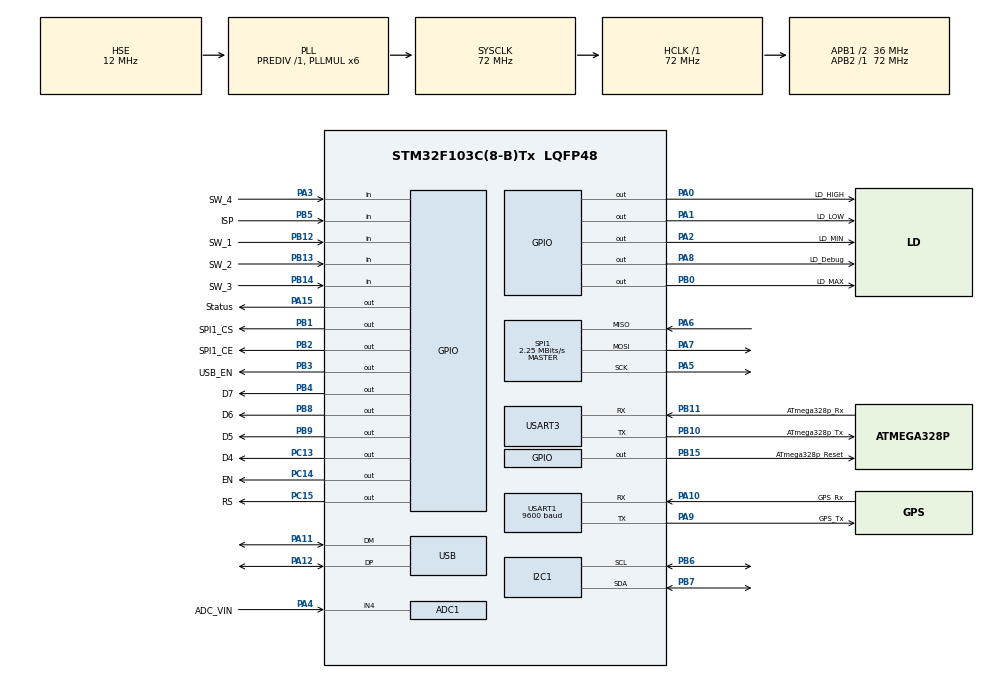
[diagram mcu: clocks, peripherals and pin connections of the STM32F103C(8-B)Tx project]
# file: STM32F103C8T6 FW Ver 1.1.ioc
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ADC1.Channel-0\#ChannelRegularConversion=ADC_CHANNEL_4
ADC1.Channel-1\#ChannelRegularConversion=ADC_CHANNEL_TEMPSENSOR
ADC1.ContinuousConvMode=ENABLE
ADC1.NbrOfConversion=2
ADC1.NbrOfConversionFlag=1
ADC1.Rank-0\#ChannelRegularConversion=1
ADC1.Rank-1\#ChannelRegularConversion=2
ADC1.SamplingTime-0\#ChannelRegularConversion=ADC_SAMPLETIME_71CYCLES_5
ADC1.SamplingTime-1\#ChannelRegularConversion=ADC_SAMPLETIME_71CYCLES_5
ADC1.master=1
Dma.ADC1.2.Direction=DMA_PERIPH_TO_MEMORY
Dma.ADC1.2.Instance=DMA1_Channel1
Dma.ADC1.2.MemDataAlignment=DMA_MDATAALIGN_HALFWORD
Dma.ADC1.2.MemInc=DMA_MINC_ENABLE
Dma.ADC1.2.Mode=DMA_CIRCULAR
Dma.ADC1.2.PeriphDataAlignment=DMA_PDATAALIGN_HALFWORD
Dma.ADC1.2.PeriphInc=DMA_PINC_DISABLE
Dma.ADC1.2.Priority=DMA_PRIORITY_LOW
Dma.Request0=USART3_RX
Dma.Request1=USART3_TX
Dma.Request2=ADC1
Dma.USART3_RX.0.Direction=DMA_PERIPH_TO_MEMORY
Dma.USART3_RX.0.Instance=DMA1_Channel3
Dma.USART3_RX.0.MemDataAlignment=DMA_MDATAALIGN_BYTE
Dma.USART3_RX.0.MemInc=DMA_MINC_ENABLE
Dma.USART3_RX.0.Mode=DMA_CIRCULAR
Dma.USART3_RX.0.PeriphDataAlignment=DMA_PDATAALIGN_BYTE
Dma.USART3_RX.0.PeriphInc=DMA_PINC_DISABLE
Dma.USART3_RX.0.Priority=DMA_PRIORITY_LOW
Dma.USART3_TX.1.Direction=DMA_MEMORY_TO_PERIPH
Dma.USART3_TX.1.Instance=DMA1_Channel2
Dma.USART3_TX.1.MemDataAlignment=DMA_MDATAALIGN_BYTE
Dma.USART3_TX.1.MemInc=DMA_MINC_ENABLE
Dma.USART3_TX.1.Mode=DMA_NORMAL
Dma.USART3_TX.1.PeriphDataAlignment=DMA_PDATAALIGN_BYTE
Dma.USART3_TX.1.PeriphInc=DMA_PINC_DISABLE
Dma.USART3_TX.1.Priority=DMA_PRIORITY_LOW
I2C1.I2C_Mode=I2C_Fast
IWDG.Prescaler=IWDG_PRESCALER_32
Mcu.Family=STM32F1
Mcu.Name=STM32F103C(8-B)Tx
Mcu.Package=LQFP48
NVIC.DMA1_Channel1_IRQn=true\:0\:0\:false\:false\:true\:false\:true\:true
NVIC.DMA1_Channel2_IRQn=true\:0\:0\:false\:false\:true\:false\:true\:true
NVIC.DMA1_Channel3_IRQn=true\:0\:0\:false\:false\:true\:false\:true\:true
NVIC.PriorityGroup=NVIC_PRIORITYGROUP_4
NVIC.TIM2_IRQn=true\:0\:0\:false\:true\:true\:2\:true\:true\:true
NVIC.USART1_IRQn=true\:0\:0\:false\:true\:true\:1\:true\:true\:true
NVIC.USB_LP_CAN1_RX0_IRQn=true\:0\:0\:false\:false\:true\:false\:true\:true
PA0-WKUP.GPIO_Label=LD_HIGH
PA0-WKUP.Signal=GPIO_Output
PA1.GPIO_Label=LD_LOW
PA1.Signal=GPIO_Output
PA10.GPIO_Label=GPS_Rx
PA10.Mode=Asynchronous
PA10.Signal=USART1_RX
PA11.Mode=Device
PA11.Signal=USB_DM
PA12.Mode=Device
PA12.Signal=USB_DP
PA13.Mode=Serial_Wire
PA13.Signal=SYS_JTMS-SWDIO
PA14.Mode=Serial_Wire
PA14.Signal=SYS_JTCK-SWCLK
PA15.GPIO_Label=Status
PA15.Signal=GPIO_Output
PA2.GPIO_Label=LD_MIN
PA2.Signal=GPIO_Output
PA3.GPIO_Label=SW_4
PA3.Signal=GPIO_Input
PA4.GPIO_Label=ADC_VIN
PA4.Signal=ADCx_IN4
PA5.Mode=Full_Duplex_Master
PA5.Signal=SPI1_SCK
PA6.Mode=Full_Duplex_Master
PA6.Signal=SPI1_MISO
PA7.Mode=Full_Duplex_Master
PA7.Signal=SPI1_MOSI
PA8.GPIO_Label=LD_Debug
PA8.Signal=GPIO_Output
PA9.GPIO_Label=GPS_Tx
PA9.Mode=Asynchronous
PA9.Signal=USART1_TX
PB0.GPIO_Label=LD_MAX
PB0.Signal=GPIO_Output
PB1.GPIO_Label=SPI1_CS
PB1.Signal=GPIO_Output
PB10.GPIO_Label=ATmega328p_Tx
PB10.Mode=Asynchronous
PB10.Signal=USART3_TX
PB11.GPIO_Label=ATmega328p_Rx
PB11.Mode=Asynchronous
PB11.Signal=USART3_RX
PB12.GPIO_Label=SW_1
PB12.Signal=GPIO_Input
PB13.GPIO_Label=SW_2
PB13.Signal=GPIO_Input
PB14.GPIO_Label=SW_3
PB14.Signal=GPIO_Input
PB15.GPIO_Label=ATmega328p_Reset
PB15.PinState=GPIO_PIN_SET
PB15.Signal=GPIO_Output
PB2.GPIO_Label=SPI1_CE
PB2.Signal=GPIO_Output
PB3.GPIO_Label=USB_EN
PB3.Signal=GPIO_Output
PB4.GPIO_Label=D7
PB4.Signal=GPIO_Output
PB5.GPIO_Label=ISP
PB5.Signal=GPIO_Input
PB6.Mode=I2C
PB6.Signal=I2C1_SCL
PB7.Mode=I2C
PB7.Signal=I2C1_SDA
PB8.GPIO_Label=D6
PB8.Signal=GPIO_Output
PB9.GPIO_Label=D5
PB9.Signal=GPIO_Output
PC13-TAMPER-RTC.GPIO_Label=D4
PC13-TAMPER-RTC.Signal=GPIO_Output
PC14-OSC32_IN.GPIO_Label=EN
PC14-OSC32_IN.Signal=GPIO_Output
PC15-OSC32_OUT.GPIO_Label=RS
PC15-OSC32_OUT.Signal=GPIO_Output
PD0-OSC_IN.Mode=HSE-External-Oscillator
PD0-OSC_IN.Signal=RCC_OSC_IN
PD1-OSC_OUT.Mode=HSE-External-Oscillator
PD1-OSC_OUT.Signal=RCC_OSC_OUT
ProjectManager.HeapSize=0x200
ProjectManager.StackSize=0x400
ProjectManager.TargetToolchain=STM32CubeIDE
RCC.ADCPresc=RCC_ADCPCLK2_DIV6
RCC.AHBFreq_Value=72000000
RCC.APB1CLKDivider=RCC_HCLK_DIV2
RCC.APB1Freq_Value=36000000
RCC.APB1TimFreq_Value=72000000
RCC.APB2Freq_Value=72000000
RCC.APB2TimFreq_Value=72000000
RCC.HCLKFreq_Value=72000000
RCC.HSE_VALUE=12000000
RCC.PLLMUL=RCC_PLL_MUL6
RCC.PLLSourceVirtual=RCC_PLLSOURCE_HSE
RCC.SYSCLKFreq_VALUE=72000000
RCC.SYSCLKSource=RCC_SYSCLKSOURCE_PLLCLK
RCC.USBFreq_Value=48000000
RCC.USBPrescaler=RCC_USBCLKSOURCE_PLL_DIV1_5
SH.ADCx_IN4.0=ADC1_IN4,IN4
SPI1.BaudRatePrescaler=SPI_BAUDRATEPRESCALER_32
SPI1.CalculateBaudRate=2.25 MBits/s
SPI1.Direction=SPI_DIRECTION_2LINES
SPI1.Mode=SPI_MODE_MASTER
SPI1.VirtualType=VM_MASTER
TIM1.Period=0xffff-1
TIM1.Prescaler=72-1
TIM2.Period=4999
TIM2.Prescaler=7199
USART1.BaudRate=9600
USART1.VirtualMode=VM_ASYNC
USART3.VirtualMode=VM_ASYNC
USB_DEVICE.CLASS_NAME_FS=CDC
USB_DEVICE.VirtualMode=Cdc
USB_DEVICE.VirtualModeFS=Cdc_FS
VP_ADC1_TempSens_Input.Mode=IN-TempSens
VP_IWDG_VS_IWDG.Mode=IWDG_Activate
VP_TIM1_VS_ClockSourceINT.Mode=Internal
VP_TIM2_VS_ClockSourceINT.Mode=Internal
VP_USB_DEVICE_VS_USB_DEVICE_CDC_FS.Mode=CDC_FS
board=custom

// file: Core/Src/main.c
/* USER CODE BEGIN Header */
/**
 *
 * GPS데이터 송신기
 * 21.12.12 업데이트 내용: 주변 밝기에 따라 LED 제어 구현
 * 24.05.05 업데이트 내용: 함수 최적화 및 USB 연결 버그 수정
 * 24.06.06 업데이트 내용: GPS 통신 프로토콜 변경(UBX) 및 함수 최적화
 * 					    디스플레이 정보중 연결된 위성 수 삭제 -> 연결된 RF Node 수로 변경(기능구현 X)
 * 24.06.07 업데이트 내용: 시간정보 표시 알고리즘 수정 + LCD제어 함수 최적화
 * 						윤년계산 및 날짜 계산 알고리즘 수정 + 보정시간 변경(매 시간마다)
 * 						ATmega328p 리셋 알고리즘 수정(일정 횟수 이상 리셋을 진행한 경우 더이상 리셋하지 않고 오류메세지 출력)
  ******************************************************************************
  * @file           : main.c
  * @brief          : Main program body
  ******************************************************************************
  * @attention
  *
  * Copyright (c) 2024 STMicroelectronics.
  * All rights reserved.
  *
  * This software is licensed under terms that can be found in the LICENSE file
  * in the root directory of this software component.
  * If no LICENSE file comes with this software, it is provided AS-IS.
  *
  ******************************************************************************
  */
/* USER CODE END Header */
#include "main.h"
#include "adc.h"
#include "dma.h"
#include "i2c.h"
#include "iwdg.h"
#include "spi.h"
#include "tim.h"
#include "usart.h"
#include "usb_device.h"
#include "gpio.h"

/* USER CODE BEGIN Includes */
#include "CLCD.h"
#include "GPS.h"
#include "DS3231.h"
#include "GPS_Data_Repeater.h"

/* USER CODE END Includes */

/* USER CODE BEGIN PM */
int _write(int file, char *ptr, int len){
	HAL_GPIO_WritePin(USB_EN_GPIO_Port, USB_EN_Pin, GPIO_PIN_SET);
    CDC_Transmit_FS(ptr, len);
    return (len);
}

/* USER CODE END PM */

/* USER CODE BEGIN PV */

uint8_t rx_uart1_data;
extern uint8_t m6n_rx_buf[TIMEUTC_LEN];
extern uint8_t m6n_rx_cplt_flag;

extern uint8_t rx_uart3_Data[20] = {0, };

bool TIM2_flag = false;

/* USER CODE END PV */

void SystemClock_Config(void);
static void MX_NVIC_Init(void);

int main(void)
{

  /* MCU Configuration--------------------------------------------------------*/

  /* Reset of all peripherals, Initializes the Flash interface and the Systick. */
  HAL_Init();

  /* Configure the system clock */
  SystemClock_Config();

  /* Initialize all configured peripherals */
  MX_GPIO_Init();
  MX_DMA_Init();
  MX_I2C1_Init();
  MX_ADC1_Init();
  MX_SPI1_Init();
  MX_USART1_UART_Init();
  MX_USART3_UART_Init();
  MX_USB_DEVICE_Init();
  MX_TIM2_Init();
  MX_TIM1_Init();
  MX_IWDG_Init();

  /* Initialize interrupts */
  MX_NVIC_Init();
  /* USER CODE BEGIN 2 */

  //LCD 초기화
  HAL_TIM_Base_Start(&htim1);
  lcd_Init(20, 4);

  //GPS Module 초기화
  M6N_Init();
  HAL_UART_Receive_IT(&huart1, &rx_uart1_data, 1);

  //RTC 초기화
  DS3231_Init(&hi2c1);

  //ATmega328p 초기화
  ATmega328p_Reset();
  HAL_UART_Receive_DMA(&huart3, rx_uart3_Data, 12);

  //500ms TIM 인터럽트 시작
  HAL_TIM_Base_Start_IT(&htim2);

  //ADC변환 시작
  uint16_t ADCVAL[2] = {0, };
  HAL_ADC_Start_DMA(&hadc1, &ADCVAL[0], 2);

  //모든 장치 초기화를 마치고 WDT가동
  HAL_IWDG_Init(&hiwdg);

  bool led_flag;

  _RTC rtc;
  TIME time;
  /* USER CODE END 2 */

  /* Infinite loop */
  /* USER CODE BEGIN WHILE */
  while (1)
  {
	  HAL_IWDG_Refresh(&hiwdg);
	  Time_Calibration(&time, m6n_rx_buf, &rtc);
	  if(TIM2_flag)
	  {
		  send_Data(&time);
		  TIM2_flag = false;
		  Display(&time, &ADCVAL);
		  led_flag = SubMCU_Check();
	  }
    /* USER CODE END WHILE */

  }
}

void SystemClock_Config(void)
{
  RCC_OscInitTypeDef RCC_OscInitStruct = {0};
  RCC_ClkInitTypeDef RCC_ClkInitStruct = {0};
  RCC_PeriphCLKInitTypeDef PeriphClkInit = {0};

  /** Initializes the RCC Oscillators according to the specified parameters
  * in the RCC_OscInitTypeDef structure.
  */
  RCC_OscInitStruct.OscillatorType = RCC_OSCILLATORTYPE_LSI|RCC_OSCILLATORTYPE_HSE;
  RCC_OscInitStruct.HSEState = RCC_HSE_ON;
  RCC_OscInitStruct.HSEPredivValue = RCC_HSE_PREDIV_DIV1;
  RCC_OscInitStruct.HSIState = RCC_HSI_ON;
  RCC_OscInitStruct.LSIState = RCC_LSI_ON;
  RCC_OscInitStruct.PLL.PLLState = RCC_PLL_ON;
  RCC_OscInitStruct.PLL.PLLSource = RCC_PLLSOURCE_HSE;
  RCC_OscInitStruct.PLL.PLLMUL = RCC_PLL_MUL6;
  if (HAL_RCC_OscConfig(&RCC_OscInitStruct) != HAL_OK)
  {
    Error_Handler();
  }

  /** Initializes the CPU, AHB and APB buses clocks
  */
  RCC_ClkInitStruct.ClockType = RCC_CLOCKTYPE_HCLK|RCC_CLOCKTYPE_SYSCLK
                              |RCC_CLOCKTYPE_PCLK1|RCC_CLOCKTYPE_PCLK2;
  RCC_ClkInitStruct.SYSCLKSource = RCC_SYSCLKSOURCE_PLLCLK;
  RCC_ClkInitStruct.AHBCLKDivider = RCC_SYSCLK_DIV1;
  RCC_ClkInitStruct.APB1CLKDivider = RCC_HCLK_DIV2;
  RCC_ClkInitStruct.APB2CLKDivider = RCC_HCLK_DIV1;

  if (HAL_RCC_ClockConfig(&RCC_ClkInitStruct, FLASH_LATENCY_2) != HAL_OK)
  {
    Error_Handler();
  }
  PeriphClkInit.PeriphClockSelection = RCC_PERIPHCLK_ADC|RCC_PERIPHCLK_USB;
  PeriphClkInit.AdcClockSelection = RCC_ADCPCLK2_DIV6;
  PeriphClkInit.UsbClockSelection = RCC_USBCLKSOURCE_PLL_DIV1_5;
  if (HAL_RCCEx_PeriphCLKConfig(&PeriphClkInit) != HAL_OK)
  {
    Error_Handler();
  }
}

/**
  * @brief NVIC Configuration.
  * @retval None
  */
static void MX_NVIC_Init(void)
{
  /* USART1_IRQn interrupt configuration */
  HAL_NVIC_SetPriority(USART1_IRQn, 0, 0);
  HAL_NVIC_EnableIRQ(USART1_IRQn);
  /* TIM2_IRQn interrupt configuration */
  HAL_NVIC_SetPriority(TIM2_IRQn, 0, 0);
  HAL_NVIC_EnableIRQ(TIM2_IRQn);
}

/* USER CODE BEGIN 4 */
void HAL_UART_RxCpltCallback(UART_HandleTypeDef *huart)
{
	static unsigned char cnt = false;
	if(huart->Instance == USART1)
	{
		switch(cnt)
		{
		case 0:
			if(rx_uart1_data == 0xb5)
			{
				m6n_rx_buf[cnt] = rx_uart1_data;
				cnt++;
			}
			break;
		case 1:
			if(rx_uart1_data == 0x62)
			{
				m6n_rx_buf[cnt] = rx_uart1_data;
				cnt++;
			}
			else
				cnt = 0;
			break;
		case 27:
			m6n_rx_buf[cnt] = rx_uart1_data;
			cnt = 0;
			m6n_rx_cplt_flag = true;
			break;
		default:
			m6n_rx_buf[cnt] = rx_uart1_data;
			cnt++;
			break;
		}
		HAL_UART_Receive_IT(&huart1, &rx_uart1_data, 1);
	}
}

void HAL_TIM_PeriodElapsedCallback(TIM_HandleTypeDef *htim)
{
	if(htim->Instance == TIM2)
	{
		TIM2_flag = true;
		HAL_GPIO_TogglePin(LD_Debug_GPIO_Port, LD_Debug_Pin);
	}
}

/* USER CODE END 4 */

void Error_Handler(void)
{
  __disable_irq();
  while (1)
  {
  }
}
